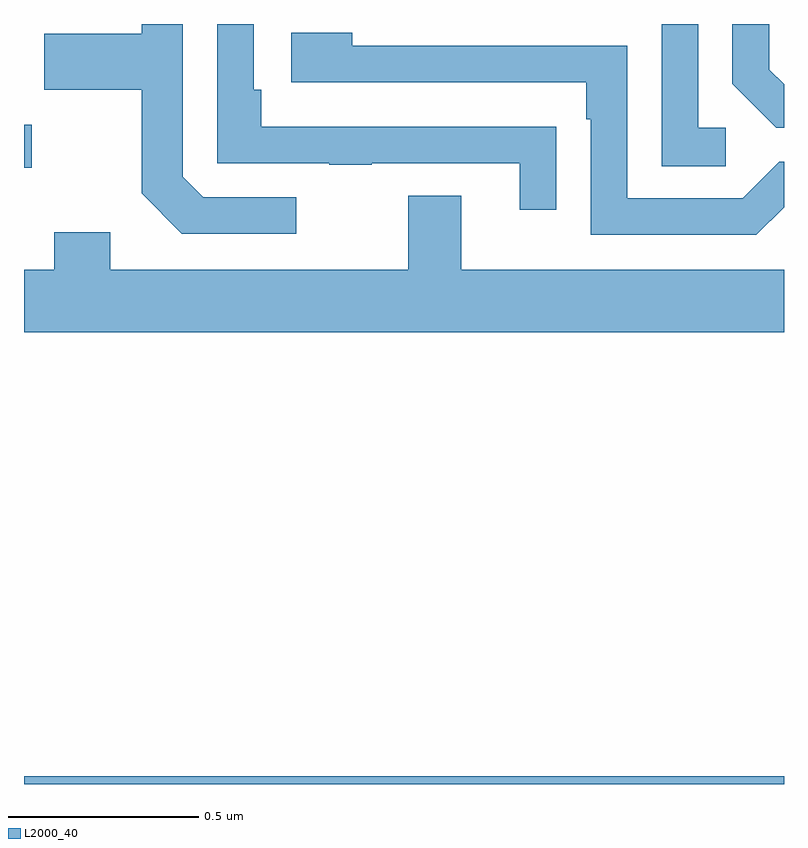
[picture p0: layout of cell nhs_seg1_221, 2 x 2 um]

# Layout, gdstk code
import gdstk
lib = gdstk.Library(unit=1e-6, precision=1e-09)
def R(c, l, rs):  # rectangles x0, y0, x1, y1
    for r in rs: c.add(gdstk.rectangle(r[:2], r[2:], *l))
def P(c, l, *ps):  # polygons
    for p in ps: c.add(gdstk.Polygon(p, *l))
L2000_40 = (2000, 40)

nhs_seg1_221 = lib.new_cell('nhs_seg1_221')
R(nhs_seg1_221, L2000_40, [(113,561.199,115,561.22), (113,562.821,113.02,562.934)])
P(nhs_seg1_221, L2000_40, [(115,563.04),(114.961,563.079),(114.961,563.199),(114.864,563.199),(114.864,563.042),(114.98,562.926),(115,562.926)],
  [(114.401,562.928),(114.299,562.928),(114.299,562.929),(113.624,562.929),(113.624,563.026),(113.604,563.026),(113.604,563.199),(113.508,563.199),(113.508,562.833),(113.803,562.833),(113.803,562.828),(113.915,562.828),(113.915,562.833),(114.305,562.833),(114.305,562.71),(114.401,562.71)],
  [(114.847,562.926),(114.774,562.926),(114.774,563.199),(114.678,563.199),(114.678,562.825),(114.847,562.825)],
  [(113.716,562.743),(113.472,562.743),(113.418,562.797),(113.418,563.199),(113.31,563.199),(113.31,563.173),(113.053,563.173),(113.053,563.026),(113.31,563.026),(113.31,562.753),(113.415,562.647),(113.716,562.647)],
  [(115,562.717),(115,562.836),(114.987,562.836),(114.891,562.74),(114.588,562.74),(114.588,563.142),(113.864,563.142),(113.864,563.176),(113.703,563.176),(113.703,563.046),(114.479,563.046),(114.479,562.949),(114.492,562.949),(114.492,562.644),(114.927,562.644)],
  [(115,562.552),(114.151,562.552),(114.151,562.747),(114.011,562.747),(114.011,562.552),(113.227,562.552),(113.227,562.651),(113.08,562.651),(113.08,562.552),(113,562.552),(113,562.388),(115,562.388)])

lib.write_gds('nhs_seg1_221.gds')
